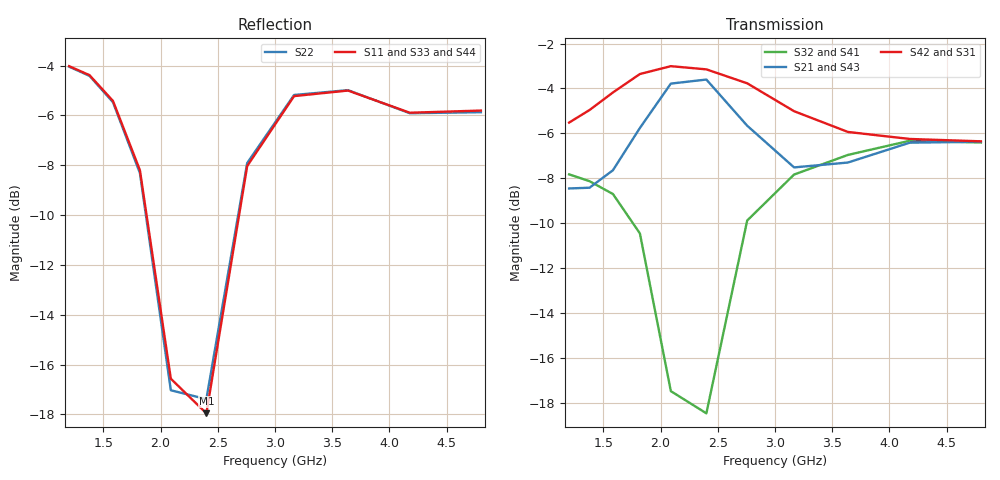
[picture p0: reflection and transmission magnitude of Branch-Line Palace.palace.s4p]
! Generated by circuitRF - EM: Palace
! circuitRF-EM setup: Branch-Line Palace
! circuitRF-EM layout: Branch-Line.c3d
! circuitRF-EM written: 2026-11-15 22:54:12Z
! circuitRF-EM stamp: 20261115T225412Z-4d32f56e
! circuitRF-EM geometry: 666cdd2ead3f3990
! circuitRF-EM mesh settings: 080ce14e84f767f4
! circuitRF-EM ports: 5f97844676b7ffb8
! circuitRF-EM model: Palace 0.18.1 (0dc74cd, schema 1-7-0)
! Port[1] = P1
! Port[2] = P2
! Port[3] = P3
! Port[4] = P4
! circuitRF-EM port 1: 'port/1' from 'U1/Bottom Copper (1 oz)/1' to 'U1/Top Copper (1 oz)/1', lumped, 50 Ohm
! circuitRF-EM port 2: 'port/2' from 'U1/Bottom Copper (1 oz)/1' to 'U1/Top Copper (1 oz)/1', lumped, 50 Ohm
! circuitRF-EM port 3: 'port/3' from 'U1/Bottom Copper (1 oz)/1' to 'U1/Top Copper (1 oz)/1', lumped, 50 Ohm
! circuitRF-EM port 4: 'port/4' from 'U1/Bottom Copper (1 oz)/1' to 'U1/Top Copper (1 oz)/1', lumped, 50 Ohm
! Port 1 = P01  P1  net=?  ref=U1/Bottom Copper (1 oz)/1  uncalibrated
! Port 2 = P02  P2  net=?  ref=U1/Bottom Copper (1 oz)/1  uncalibrated
! Port 3 = P03  P3  net=?  ref=U1/Bottom Copper (1 oz)/1  uncalibrated
! Port 4 = P04  P4  net=?  ref=U1/Bottom Copper (1 oz)/1  uncalibrated
! DC: none, the lowest row is 1.2 GHz; a circuit's DC solve through this file takes that row as DC
! circuitRF-EM 3D mesh: 69,610 elements initially, 215,686 finally, 2 adaptive pass(es), element order 1
! circuitRF-EM 3D operating temperature: 20 C
! circuitRF-EM 3D run: preset Draft; 69610 -> 215686 tetrahedra; 211529 unknowns; 2 refinement pass(es); 4 frequency sample(s)
! circuitRF-EM 3D run cost: wall 411 s; Palace peak memory 5.9 GB
! circuitRF-EM: re-running the EM setup rewrites this file. If circuitRF reports it as stale, the layout's cross-section changed after this file was written.
# GHz S RI R 50
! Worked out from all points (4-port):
!   11 points, 1.2 GHz to 4.8 GHz, reference 50 ohm
!   strongest paths, dB at 1.2 GHz, 1.583 GHz, 2.4 GHz, 3.638 GHz, 4.8 GHz:
!     S42: -5.5, -4.2, -3.1, -5.9, -6.4
!     S31: -5.5, -4.2, -3.1, -5.9, -6.4
!     S21: -8.4, -7.6, -3.6, -7.3, -6.4
!     S43: -8.4, -7.6, -3.6, -7.3, -6.4
!     S32: -7.8, -8.7, -18.5, -7.0, -6.4
!     S41: -7.9, -8.8, -18.2, -6.9, -6.5
!   lowest |S11| = -18.0 dB at 2.4 GHz (marker M1), VSWR 1.29, Z = 38.9 - j2.09 ohm
!   |S11| at or under -10 dB: 1.877 GHz to 2.686 GHz (808.9 MHz wide, 35.5 % of centre)
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1.2  -0.3971 0.4882  0.0747 -0.3707  -0.2317 -0.4758  -0.0843 -0.3961
     0.0747 -0.3707  -0.3981 0.4854  -0.0842 -0.3976  -0.2315 -0.4766
     -0.2317 -0.4758  -0.0842 -0.3976  -0.3988 0.4851  0.0749 -0.3712
     -0.0843 -0.3961  -0.2315 -0.4766  0.0749 -0.3712  -0.3982 0.4861
1.81886  0.1106 0.3732  -0.1193 -0.5015  -0.6762 0.0507  -0.2918 -0.0551
         -0.1193 -0.5015  0.1074 0.3687  -0.2949 -0.0566  -0.6775 0.0512
         -0.6762 0.0507  -0.2949 -0.0566  0.1059 0.3714  -0.12 -0.5016
         -0.2918 -0.0551  -0.6775 0.0512  -0.12 -0.5016  0.1087 0.3707
2.089321  0.101 0.1089  -0.4205 -0.4916  -0.5438 0.451  -0.1127 0.0643
          -0.4205 -0.4916  0.0941 0.1047  -0.1172 0.0648  -0.5436 0.4525
          -0.5438 0.451  -0.1172 0.0648  0.0959 0.1085  -0.421 -0.4912
          -0.1127 0.0643  -0.5436 0.4525  -0.421 -0.4912  0.0979 0.106
2.4  -0.1238 -0.0264  -0.6475 -0.1307  -0.1327 0.6839  0.00566 -0.1235
     -0.6475 -0.1307  -0.1329 -0.0248  0.0019 -0.1195  -0.1314 0.6834
     -0.1327 0.6839  0.0019 -0.1195  -0.1286 -0.0249  -0.6475 -0.1301
     0.00566 -0.1235  -0.1314 0.6834  -0.6475 -0.1301  -0.1279 -0.0278
3.166819  -0.3127 0.45  -0.3031 0.2924  0.553 0.1035  -0.408 0.0216
          -0.3031 0.2924  -0.3125 0.4537  -0.4053 0.0249  0.5519 0.1043
          0.553 0.1035  -0.4053 0.0249  -0.3138 0.4525  -0.3023 0.2917
          -0.408 0.0216  0.5519 0.1043  -0.3023 0.2917  -0.3168 0.4493
4.178643  0.1833 0.4732  0.1083 0.4656  0.00642 -0.4872  0.0174 0.4813
          0.1083 0.4656  0.1846 0.4714  0.0205 0.4823  0.0077 -0.4871
          0.00642 -0.4872  0.0205 0.4823  0.1843 0.472  0.1068 0.4655
          0.0174 0.4813  0.0077 -0.4871  0.1068 0.4655  0.1805 0.4747
4.8  0.3349 0.3881  0.4144 0.2426  -0.4247 -0.226  0.3915 0.2685
     0.4144 0.2426  0.3357 0.3822  0.3983 0.2649  -0.4245 -0.227
     -0.4247 -0.226  0.3983 0.2649  0.3358 0.3821  0.4143 0.2435
     0.3915 0.2685  -0.4245 -0.227  0.4143 0.2435  0.333 0.3889
